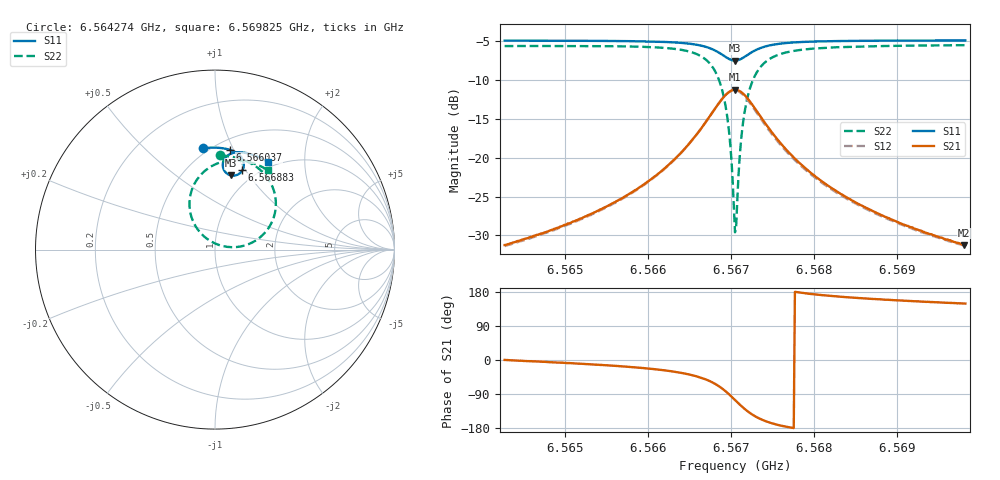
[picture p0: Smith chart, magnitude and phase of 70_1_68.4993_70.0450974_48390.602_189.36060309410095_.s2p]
#  HZ  S  RI  R  50.00
! Rohde & Schwarz Vector Network Analyzer
! Rohde-Schwarz,ZNB20-2Port,1311601062101988,3.16
! Created: UTC 3/20/2024, 5:06:51 PM
! freq[Hz]  re:S11  im:S11  re:S21  im:S21  re:S12  im:S12  re:S22  im:S22
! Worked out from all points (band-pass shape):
!   401 points, 6.564274 GHz to 6.569825 GHz, reference 50 ohm
!   highest |S21| = -11.22 dB at 6.56705 GHz (marker M1); lowest = -31.2 dB at 6.569811 GHz (marker M2)
!   |S21| within 3 dB of the highest: 6.566773 GHz to 6.567327 GHz (553.9 kHz wide, 0.00843 % of centre)
!   lowest |S11| = -7.5 dB at 6.56705 GHz (marker M3), VSWR 2.47, Z = 41.1 + j41.3 ohm
!   |S11| at or under -10 dB: nowhere
!   |S22| runs from -29.6 to -5.5 dB; largest |S21 - S12| = 0.013
!   S11 on the Smith chart (normalised r, x): 6.564274 GHz: 0.46, +0.77; 6.566037 GHz: 0.60, +0.97; 6.566883 GHz: 0.86, +0.97; 6.569825 GHz: 0.92, +1.33
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6.5642743e9  -0.0692 0.5649  0.0274 0.000106  0.0269 -0.000574  0.0302 0.5245
6.5652041e9  0.0066 0.5679  0.0402 -0.0071  0.0396 -0.00768  0.1171 0.5121
6.5660366e9  0.0834 0.5557  0.0667 -0.0287  0.0657 -0.0295  0.2224 0.4669
6.5661338e9  0.0935 0.5522  0.0719 -0.0344  0.0709 -0.0351  0.2386 0.4552
6.566439e9  0.1282 0.5333  0.0926 -0.066  0.0912 -0.0673  0.2973 0.3927
6.5666472e9  0.1521 0.5054  0.1059 -0.1143  0.1036 -0.1166  0.3353 0.2994
6.5667859e9  0.1604 0.4722  0.0992 -0.1725  0.095 -0.1757  0.3299 0.1885
6.5668831e9  0.152 0.4413  0.0674 -0.2255  0.06 -0.2284  0.2735 0.0893
6.5669663e9  0.1273 0.418  0.00811 -0.2628  -0.00232 -0.2628  0.1653 0.0228
6.5669941e9  0.1155 0.4138  -0.0179 -0.2686  -0.029 -0.267  0.1182 0.0142
6.5670357e9  0.096 0.4123  -0.0597 -0.2676  -0.071 -0.2632  0.0441 0.0196
6.5670496e9  0.0894 0.4133  -0.0736 -0.2647  -0.0846 -0.2591  0.0199 0.0264
6.5670773e9  0.0768 0.4176  -0.0999 -0.2545  -0.1101 -0.247  -0.0251 0.0474
6.567119e9  0.0609 0.4286  -0.1336 -0.2309  -0.1417 -0.2212  -0.0807 0.0932
6.5671606e9  0.0498 0.4434  -0.1578 -0.2008  -0.163 -0.1901  -0.1183 0.1487
6.5672161e9  0.0434 0.4648  -0.1746 -0.1586  -0.1767 -0.1481  -0.1405 0.2245
6.5672855e9  0.0456 0.4885  -0.1773 -0.1121  -0.1766 -0.103  -0.1367 0.3058
6.5675353e9  0.084 0.5325  -0.1344 -0.0247  -0.1314 -0.0209  -0.0395 0.4516
6.5679793e9  0.1448 0.5423  -0.0782 0.00842  -0.0763 0.00958  0.0893 0.497
6.568909e9  0.2303 0.5205  -0.0379 0.0149  -0.037 0.0151  0.2192 0.4786
6.569811e9  0.2963 0.488  -0.0235 0.0141  -0.0231 0.0143  0.2969 0.4418
6.5698248e9  0.2973 0.4873  -0.0235 0.0142  -0.023 0.0143  0.2979 0.4411
